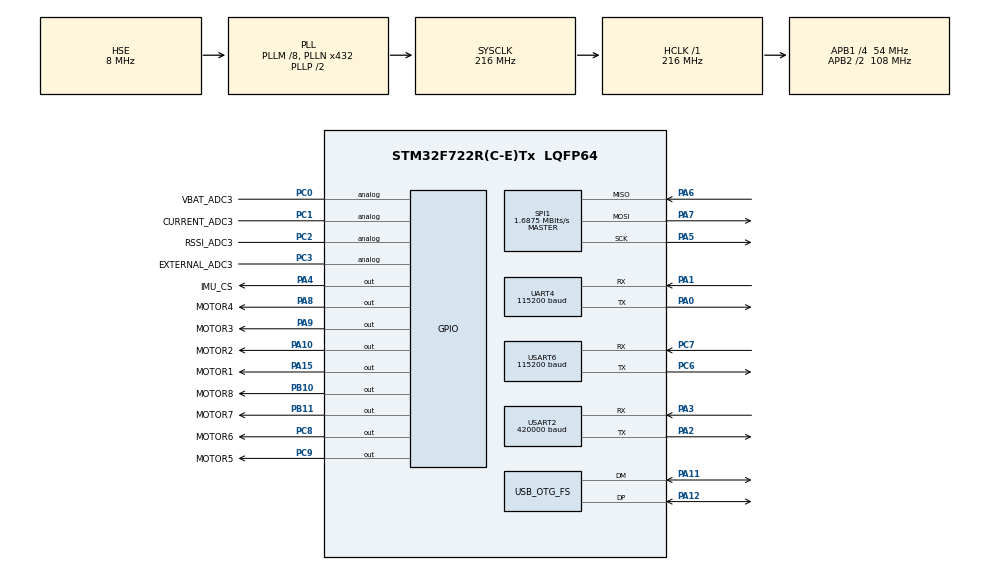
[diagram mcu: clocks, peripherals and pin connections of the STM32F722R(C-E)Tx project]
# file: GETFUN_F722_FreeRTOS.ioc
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CORTEX_M7.ART_ACCELERATOR_ENABLE=1
CORTEX_M7.CPU_ICache=Enabled
CORTEX_M7.PREFETCH_ENABLE=1
CORTEX_M7.default_mode_Activation=1
Dma.Request0=SPI1_RX
Dma.Request1=SPI1_TX
Dma.Request2=USART2_RX
Dma.SPI1_RX.0.Direction=DMA_PERIPH_TO_MEMORY
Dma.SPI1_RX.0.FIFOMode=DMA_FIFOMODE_DISABLE
Dma.SPI1_RX.0.Instance=DMA2_Stream0
Dma.SPI1_RX.0.MemDataAlignment=DMA_MDATAALIGN_BYTE
Dma.SPI1_RX.0.MemInc=DMA_MINC_ENABLE
Dma.SPI1_RX.0.Mode=DMA_NORMAL
Dma.SPI1_RX.0.PeriphDataAlignment=DMA_PDATAALIGN_BYTE
Dma.SPI1_RX.0.PeriphInc=DMA_PINC_DISABLE
Dma.SPI1_RX.0.Priority=DMA_PRIORITY_HIGH
Dma.SPI1_TX.1.Direction=DMA_MEMORY_TO_PERIPH
Dma.SPI1_TX.1.FIFOMode=DMA_FIFOMODE_DISABLE
Dma.SPI1_TX.1.Instance=DMA2_Stream3
Dma.SPI1_TX.1.MemDataAlignment=DMA_MDATAALIGN_BYTE
Dma.SPI1_TX.1.MemInc=DMA_MINC_ENABLE
Dma.SPI1_TX.1.Mode=DMA_NORMAL
Dma.SPI1_TX.1.PeriphDataAlignment=DMA_PDATAALIGN_BYTE
Dma.SPI1_TX.1.PeriphInc=DMA_PINC_DISABLE
Dma.SPI1_TX.1.Priority=DMA_PRIORITY_HIGH
Dma.USART2_RX.2.Direction=DMA_PERIPH_TO_MEMORY
Dma.USART2_RX.2.FIFOMode=DMA_FIFOMODE_DISABLE
Dma.USART2_RX.2.Instance=DMA1_Stream5
Dma.USART2_RX.2.MemDataAlignment=DMA_MDATAALIGN_BYTE
Dma.USART2_RX.2.MemInc=DMA_MINC_ENABLE
Dma.USART2_RX.2.Mode=DMA_CIRCULAR
Dma.USART2_RX.2.PeriphDataAlignment=DMA_PDATAALIGN_BYTE
Dma.USART2_RX.2.PeriphInc=DMA_PINC_DISABLE
Dma.USART2_RX.2.Priority=DMA_PRIORITY_HIGH
FREERTOS.Tasks01=InitTask,1,512,StartInitTask,Default,NULL,Static,InitTaskBuffer,InitTaskControlBlock
FREERTOS.configCHECK_FOR_STACK_OVERFLOW=2
FREERTOS.configUSE_MALLOC_FAILED_HOOK=1
Mcu.Family=STM32F7
Mcu.Name=STM32F722R(C-E)Tx
Mcu.Package=LQFP64
NVIC.DMA1_Stream5_IRQn=true\:5\:0\:false\:false\:true\:true\:false\:true\:true
NVIC.DMA2_Stream0_IRQn=true\:5\:0\:false\:false\:true\:true\:false\:true\:true
NVIC.DMA2_Stream3_IRQn=true\:5\:0\:false\:false\:true\:true\:false\:true\:true
NVIC.OTG_FS_IRQn=true\:6\:0\:true\:false\:true\:true\:false\:true\:true
NVIC.PriorityGroup=NVIC_PRIORITYGROUP_4
NVIC.TIM6_DAC_IRQn=true\:15\:0\:false\:false\:true\:false\:false\:true\:true
NVIC.TimeBase=TIM6_DAC_IRQn
NVIC.TimeBaseIP=TIM6
NVIC.USART2_IRQn=true\:5\:0\:true\:false\:true\:true\:true\:true\:true
NVIC.USART6_IRQn=true\:5\:0\:true\:false\:true\:true\:true\:true\:true
PA0-WKUP.Mode=Asynchronous
PA0-WKUP.Signal=UART4_TX
PA1.Mode=Asynchronous
PA1.Signal=UART4_RX
PC6.Mode=Asynchronous
PC6.Signal=USART6_TX
PC7.Mode=Asynchronous
PC7.Signal=USART6_RX
PA2.Mode=Asynchronous
PA2.Signal=USART2_TX
PA3.Mode=Asynchronous
PA3.Signal=USART2_RX
PA10.GPIO_Label=MOTOR2
PA10.Signal=GPIO_Output
PA11.Mode=Device_Only
PA11.Signal=USB_OTG_FS_DM
PA12.Mode=Device_Only
PA12.Signal=USB_OTG_FS_DP
PA13.Mode=Serial_Wire
PA13.Signal=SYS_JTMS-SWDIO
PA14.Mode=Serial_Wire
PA14.Signal=SYS_JTCK-SWCLK
PA15.GPIO_Label=MOTOR1
PA15.Signal=GPIO_Output
PA4.GPIO_Label=IMU_CS
PA4.GPIO_Speed=GPIO_SPEED_FREQ_VERY_HIGH
PA4.PinState=GPIO_PIN_SET
PA4.Signal=GPIO_Output
PA5.Mode=Full_Duplex_Master
PA5.Signal=SPI1_SCK
PA6.Mode=Full_Duplex_Master
PA6.Signal=SPI1_MISO
PA7.Mode=Full_Duplex_Master
PA7.Signal=SPI1_MOSI
PA8.GPIO_Label=MOTOR4
PA8.Signal=GPIO_Output
PA9.GPIO_Label=MOTOR3
PA9.Signal=GPIO_Output
PB10.GPIO_Label=MOTOR8
PB10.Signal=GPIO_Output
PB11.GPIO_Label=MOTOR7
PB11.Signal=GPIO_Output
PC0.GPIO_Label=VBAT_ADC3
PC0.Signal=GPIO_Analog
PC1.GPIO_Label=CURRENT_ADC3
PC1.Signal=GPIO_Analog
PC2.GPIO_Label=RSSI_ADC3
PC2.Signal=GPIO_Analog
PC3.GPIO_Label=EXTERNAL_ADC3
PC3.Signal=GPIO_Analog
PC8.GPIO_Label=MOTOR6
PC8.Signal=GPIO_Output
PC9.GPIO_Label=MOTOR5
PC9.Signal=GPIO_Output
PH0-OSC_IN.Mode=HSE-External-Oscillator
PH0-OSC_IN.Signal=RCC_OSC_IN
PH1-OSC_OUT.Mode=HSE-External-Oscillator
PH1-OSC_OUT.Signal=RCC_OSC_OUT
ProjectManager.HeapSize=0x200
ProjectManager.StackSize=0x400
ProjectManager.TargetToolchain=CMake
RCC.AHBFreq_Value=216000000
RCC.APB1CLKDivider=RCC_HCLK_DIV4
RCC.APB1Freq_Value=54000000
RCC.APB1TimFreq_Value=108000000
RCC.APB2CLKDivider=RCC_HCLK_DIV2
RCC.APB2Freq_Value=108000000
RCC.APB2TimFreq_Value=216000000
RCC.CortexFreq_Value=216000000
RCC.HCLKFreq_Value=216000000
RCC.HSE_VALUE=8000000
RCC.HSI_VALUE=16000000
RCC.LSE_VALUE=32768
RCC.PLLM=8
RCC.PLLN=432
RCC.PLLQ=9
RCC.SYSCLKFreq_VALUE=216000000
RCC.SYSCLKSource=RCC_SYSCLKSOURCE_PLLCLK
RCC.USBFreq_Value=48000000
RCC.VCOOutputFreq_Value=432000000
SPI1.BaudRatePrescaler=SPI_BAUDRATEPRESCALER_64
SPI1.CLKPhase=SPI_PHASE_1EDGE
SPI1.CLKPolarity=SPI_POLARITY_LOW
SPI1.CalculateBaudRate=1.6875 MBits/s
SPI1.DataSize=SPI_DATASIZE_8BIT
SPI1.Direction=SPI_DIRECTION_2LINES
SPI1.FirstBit=SPI_FIRSTBIT_MSB
SPI1.Mode=SPI_MODE_MASTER
SPI1.NSS=SPI_NSS_SOFT
SPI1.NSSPMode=SPI_NSS_PULSE_DISABLE
SPI1.VirtualType=VM_MASTER
USART2.BaudRate=420000
USART2.VirtualMode-Asynchronous=VM_ASYNC
UART4.BaudRate=115200
UART4.VirtualMode-Asynchronous=VM_ASYNC
USART6.BaudRate=115200
USART6.VirtualMode-Asynchronous=VM_ASYNC
USB_DEVICE.CLASS_NAME_FS=CDC
USB_DEVICE.VirtualMode-CDC_FS=Cdc
USB_DEVICE.VirtualModeFS=Cdc_FS
USB_OTG_FS.VirtualMode=Device_Only
VP_FREERTOS_VS_CMSIS_V2.Mode=CMSIS_V2
VP_SYS_VS_tim6.Mode=TIM6
VP_USB_DEVICE_VS_USB_DEVICE_CDC_FS.Mode=CDC_FS
board=custom

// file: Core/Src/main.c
/* USER CODE BEGIN Header */
/**
  ******************************************************************************
  * @file           : main.c
  * @brief          : Main program body
  ******************************************************************************
  * @attention
  *
  * Copyright (c) 2026 STMicroelectronics.
  * All rights reserved.
  *
  * This software is licensed under terms that can be found in the LICENSE file
  * in the root directory of this software component.
  * If no LICENSE file comes with this software, it is provided AS-IS.
  *
  ******************************************************************************
  */
/* USER CODE END Header */
#include "main.h"
#include "cmsis_os.h"
#include "dma.h"
#include "spi.h"
#include "usart.h"
#include "usb_device.h"
#include "gpio.h"

/* USER CODE BEGIN Includes */

#include "platform/platform_diag.h"
#include "bsp/linux_rc_monitor.h"

/* USER CODE END Includes */

void SystemClock_Config(void);
static void MPU_Config(void);
void MX_FREERTOS_Init(void);

int main(void)
{

  /* MPU Configuration--------------------------------------------------------*/
  MPU_Config();

  /* Enable the CPU Cache */

  /* Enable I-Cache---------------------------------------------------------*/
  SCB_EnableICache();

  /* MCU Configuration--------------------------------------------------------*/

  /* Reset of all peripherals, Initializes the Flash interface and the Systick. */
  HAL_Init();

  /* Configure the system clock */
  SystemClock_Config();

  /* USER CODE BEGIN SysInit */

  linux_rc_monitor_init();

  /* USER CODE END SysInit */

  /* Initialize all configured peripherals */
  MX_GPIO_Init();
  MX_DMA_Init();
  MX_SPI1_Init();
  MX_USART2_UART_Init();
  MX_UART4_Init();
  MX_USART6_UART_Init();
  /* USER CODE BEGIN 2 */

  platform_motor_outputs_force_safe();
  platform_diag_startup();

  /* USER CODE END 2 */

  /* Init scheduler */
  osKernelInitialize();  /* Call init function for freertos objects (in cmsis_os2.c) */
  MX_FREERTOS_Init();

  /* Start scheduler */
  osKernelStart();

  /* We should never get here as control is now taken by the scheduler */

  /* Infinite loop */
  /* USER CODE BEGIN WHILE */
  platform_fault_halt(PLATFORM_FAULT_SCHEDULER_RETURNED);
  while (1)
  {
    /* USER CODE END WHILE */

  }
}

void SystemClock_Config(void)
{
  RCC_OscInitTypeDef RCC_OscInitStruct = {0};
  RCC_ClkInitTypeDef RCC_ClkInitStruct = {0};

  /** Configure the main internal regulator output voltage
  */
  __HAL_RCC_PWR_CLK_ENABLE();
  __HAL_PWR_VOLTAGESCALING_CONFIG(PWR_REGULATOR_VOLTAGE_SCALE1);

  /** Initializes the RCC Oscillators according to the specified parameters
  * in the RCC_OscInitTypeDef structure.
  */
  RCC_OscInitStruct.OscillatorType = RCC_OSCILLATORTYPE_HSE;
  RCC_OscInitStruct.HSEState = RCC_HSE_ON;
  RCC_OscInitStruct.PLL.PLLState = RCC_PLL_ON;
  RCC_OscInitStruct.PLL.PLLSource = RCC_PLLSOURCE_HSE;
  RCC_OscInitStruct.PLL.PLLM = 8;
  RCC_OscInitStruct.PLL.PLLN = 432;
  RCC_OscInitStruct.PLL.PLLP = RCC_PLLP_DIV2;
  RCC_OscInitStruct.PLL.PLLQ = 9;
  if (HAL_RCC_OscConfig(&RCC_OscInitStruct) != HAL_OK)
  {
    Error_Handler();
  }

  /** Activate the Over-Drive mode
  */
  if (HAL_PWREx_EnableOverDrive() != HAL_OK)
  {
    Error_Handler();
  }

  /** Initializes the CPU, AHB and APB buses clocks
  */
  RCC_ClkInitStruct.ClockType = RCC_CLOCKTYPE_HCLK|RCC_CLOCKTYPE_SYSCLK
                              |RCC_CLOCKTYPE_PCLK1|RCC_CLOCKTYPE_PCLK2;
  RCC_ClkInitStruct.SYSCLKSource = RCC_SYSCLKSOURCE_PLLCLK;
  RCC_ClkInitStruct.AHBCLKDivider = RCC_SYSCLK_DIV1;
  RCC_ClkInitStruct.APB1CLKDivider = RCC_HCLK_DIV4;
  RCC_ClkInitStruct.APB2CLKDivider = RCC_HCLK_DIV2;

  if (HAL_RCC_ClockConfig(&RCC_ClkInitStruct, FLASH_LATENCY_7) != HAL_OK)
  {
    Error_Handler();
  }
}

 /* MPU Configuration */

void MPU_Config(void)
{
  MPU_Region_InitTypeDef MPU_InitStruct = {0};

  /* Disables the MPU */
  HAL_MPU_Disable();

  /** Initializes and configures the Region and the memory to be protected
  */
  MPU_InitStruct.Enable = MPU_REGION_ENABLE;
  MPU_InitStruct.Number = MPU_REGION_NUMBER0;
  MPU_InitStruct.BaseAddress = 0x0;
  MPU_InitStruct.Size = MPU_REGION_SIZE_4GB;
  MPU_InitStruct.SubRegionDisable = 0x87;
  MPU_InitStruct.TypeExtField = MPU_TEX_LEVEL0;
  MPU_InitStruct.AccessPermission = MPU_REGION_NO_ACCESS;
  MPU_InitStruct.DisableExec = MPU_INSTRUCTION_ACCESS_DISABLE;
  MPU_InitStruct.IsShareable = MPU_ACCESS_SHAREABLE;
  MPU_InitStruct.IsCacheable = MPU_ACCESS_NOT_CACHEABLE;
  MPU_InitStruct.IsBufferable = MPU_ACCESS_NOT_BUFFERABLE;

  HAL_MPU_ConfigRegion(&MPU_InitStruct);
  /* Enables the MPU */
  HAL_MPU_Enable(MPU_PRIVILEGED_DEFAULT);

}

void HAL_TIM_PeriodElapsedCallback(TIM_HandleTypeDef *htim)
{
  if (htim->Instance == TIM6)
  {
    HAL_IncTick();
  }
}

void Error_Handler(void)
{
  /* USER CODE BEGIN Error_Handler_Debug */
  platform_fault_halt(PLATFORM_FAULT_HAL_ERROR);
  /* USER CODE END Error_Handler_Debug */
}
#ifdef USE_FULL_ASSERT
/**
  * @brief  Reports the name of the source file and the source line number
  *         where the assert_param error has occurred.
  * @param  file: pointer to the source file name
  * @param  line: assert_param error line source number
  * @retval None
  */
void assert_failed(uint8_t *file, uint32_t line)
{
  /* USER CODE BEGIN 6 */
  platform_freertos_assert_failed((const char *)file, line);
  /* USER CODE END 6 */
}
#endif /* USE_FULL_ASSERT */

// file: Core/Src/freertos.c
/* USER CODE BEGIN Header */
/**
  ******************************************************************************
  * File Name          : freertos.c
  * Description        : Code for freertos applications
  ******************************************************************************
  * @attention
  *
  * Copyright (c) 2026 STMicroelectronics.
  * All rights reserved.
  *
  * This software is licensed under terms that can be found in the LICENSE file
  * in the root directory of this software component.
  * If no LICENSE file comes with this software, it is provided AS-IS.
  *
  ******************************************************************************
  */
/* USER CODE END Header */

#include "FreeRTOS.h"
#include "task.h"
#include "main.h"
#include "cmsis_os.h"

/* USER CODE BEGIN Includes */

#include "platform/platform_diag.h"
#include "rtos/app_task.h"

/* USER CODE END Includes */

typedef StaticTask_t osStaticThreadDef_t;

/* Definitions for InitTask */
osThreadId_t InitTaskHandle;
uint32_t InitTaskBuffer[ 512 ];
osStaticThreadDef_t InitTaskControlBlock;
const osThreadAttr_t InitTask_attributes = {
  .name = "InitTask",
  .cb_mem = &InitTaskControlBlock,
  .cb_size = sizeof(InitTaskControlBlock),
  .stack_mem = &InitTaskBuffer[0],
  .stack_size = sizeof(InitTaskBuffer),
  .priority = (osPriority_t) osPriorityIdle,
};

void StartInitTask(void *argument);

extern void MX_USB_DEVICE_Init(void);
void MX_FREERTOS_Init(void); /* (MISRA C 2004 rule 8.1) */

/* Hook prototypes */
void vApplicationStackOverflowHook(xTaskHandle xTask, signed char *pcTaskName);
void vApplicationMallocFailedHook(void);

/* USER CODE BEGIN 4 */
void vApplicationStackOverflowHook(xTaskHandle xTask, signed char *pcTaskName)
{
   (void)xTask;
   (void)pcTaskName;
   platform_fault_halt(PLATFORM_FAULT_STACK_OVERFLOW);
}
/* USER CODE END 4 */

/* USER CODE BEGIN 5 */
void vApplicationMallocFailedHook(void)
{
   platform_fault_halt(PLATFORM_FAULT_MALLOC_FAILED);
}
/* USER CODE END 5 */

void MX_FREERTOS_Init(void) {

  /* Create the thread(s) */
  /* creation of InitTask */
  InitTaskHandle = osThreadNew(StartInitTask, NULL, &InitTask_attributes);

  /* USER CODE BEGIN RTOS_THREADS */
  app_tasks_init();
  /* USER CODE END RTOS_THREADS */

}

void StartInitTask(void *argument)
{
  /* init code for USB_DEVICE */
  MX_USB_DEVICE_Init();
  /* USER CODE BEGIN StartInitTask */
  (void)argument;
  platform_diag_rtos_started();

  /* Infinite loop */
  for(;;)
  {
    platform_diag_heartbeat();
    osDelay(1000U);
  }
  /* USER CODE END StartInitTask */
}
